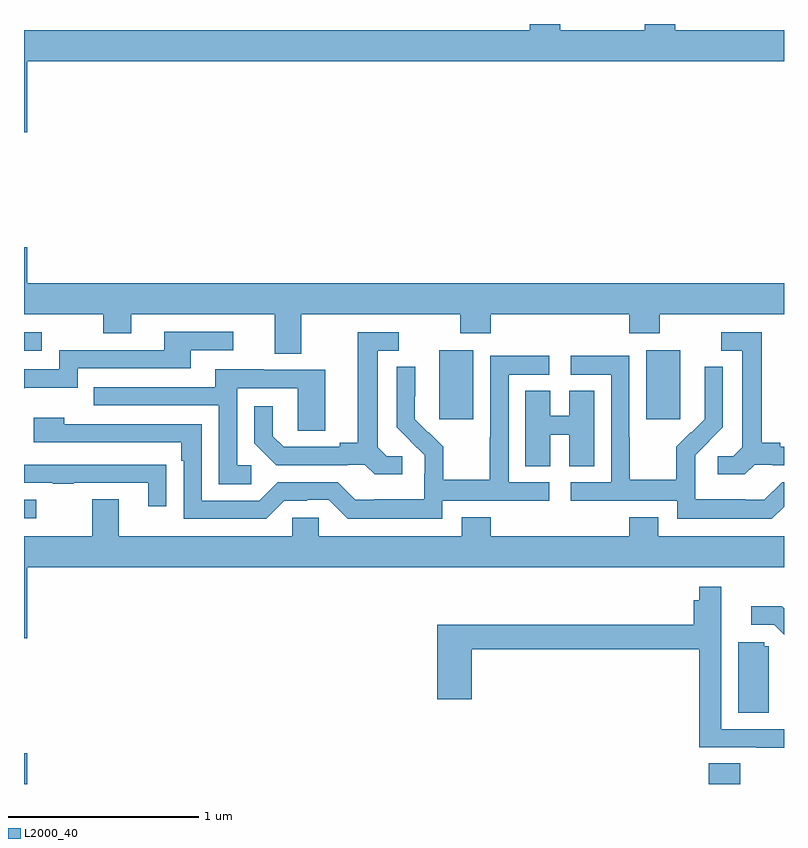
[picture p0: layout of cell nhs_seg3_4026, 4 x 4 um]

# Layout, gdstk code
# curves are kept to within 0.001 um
import gdstk
lib = gdstk.Library(unit=1e-6, precision=1e-09)
def R(c, l, rs):  # rectangles x0, y0, x1, y1
    for r in rs: c.add(gdstk.rectangle(r[:2], r[2:], *l))
def P(c, l, *ps):  # polygons
    for p in ps: c.add(gdstk.Polygon(p, *l))
L2000_40 = (2000, 40)

nhs_seg3_4026 = lib.new_cell('nhs_seg3_4026')
R(nhs_seg3_4026, L2000_40, [(321,742.4,321.016,742.561), (324.605,742.4,324.77,742.508), (321,743.799,321.064,743.895), (323.186,744.321,323.365,744.682), (324.275,744.321,324.454,744.682), (321,744.681,321.094,744.777)])
P(nhs_seg3_4026, L2000_40, [(321.016,746.204),(325,746.204),(325,746.368),(324.428,746.368),(324.428,746.4),(324.268,746.4),(324.268,746.368),(323.823,746.368),(323.823,746.4),(323.663,746.4),(323.663,746.368),(321,746.368),(321,745.83),(321.016,745.83)],
  [(322.459,744.872),(323.296,744.872),(323.296,744.773),(323.456,744.773),(323.456,744.872),(324.185,744.872),(324.185,744.773),(324.345,744.773),(324.345,744.872),(325,744.872),(325,745.036),(321.016,745.036),(321.016,745.225),(321,745.225),(321,744.872),(321.418,744.872),(321.418,744.773),(321.565,744.773),(321.565,744.872),(322.319,744.872),(322.319,744.664),(322.459,744.664)],
  [(321.005,744.485),(321.282,744.485),(321.282,744.588),(321.877,744.588),(321.877,744.684),(322.102,744.684),(322.102,744.78),(321.737,744.78),(321.737,744.684),(321.186,744.684),(321.186,744.582),(321,744.582),(321,744.48)],
  [(322.99,744.126),(322.908,744.126),(322.861,744.173),(322.861,744.681),(322.972,744.681),(322.972,744.777),(322.757,744.777),(322.757,744.197),(322.661,744.197),(322.661,744.174),(322.366,744.174),(322.309,744.231),(322.309,744.388),(322.212,744.388),(322.212,744.194),(322.328,744.078),(322.7,744.078),(322.7,744.081),(322.794,744.081),(322.846,744.029),(322.99,744.029)],
  [(324.846,744.081),(324.94,744.081),(324.94,744.078),(325,744.078),(325,744.174),(324.979,744.174),(324.979,744.197),(324.883,744.197),(324.883,744.777),(324.669,744.777),(324.669,744.681),(324.779,744.681),(324.779,744.173),(324.732,744.126),(324.651,744.126),(324.651,744.029),(324.794,744.029)],
  [(325,743.86),(325,743.988),(324.99,743.988),(324.897,743.895),(324.797,743.895),(324.797,743.899),(324.534,743.899),(324.534,744.033),(324.532,744.033),(324.532,744.13),(324.678,744.278),(324.678,744.596),(324.582,744.596),(324.582,744.442),(324.584,744.442),(324.584,744.32),(324.513,744.249),(324.51,744.252),(324.433,744.175),(324.433,744.001),(324.189,744.001),(324.189,744.224),(324.186,744.224),(324.186,744.654),(323.877,744.654),(323.877,744.555),(324.09,744.555),(324.09,743.988),(323.877,743.988),(323.877,743.892),(324.438,743.892),(324.438,743.795),(324.935,743.795)],
  [(323.202,743.892),(323.764,743.892),(323.764,743.988),(323.55,743.988),(323.55,744.555),(323.764,744.555),(323.764,744.654),(323.454,744.654),(323.454,744.224),(323.452,744.224),(323.452,744.001),(323.207,744.001),(323.207,744.175),(323.13,744.252),(323.127,744.249),(323.057,744.32),(323.058,744.596),(322.962,744.596),(322.962,744.278),(323.108,744.13),(323.108,744.033),(323.106,744.033),(323.106,743.899),(322.843,743.899),(322.843,743.895),(322.743,743.895),(322.65,743.988),(322.335,743.988),(322.239,743.892),(321.936,743.892),(321.936,744.294),(321.212,744.294),(321.212,744.328),(321.051,744.328),(321.051,744.198),(321.827,744.198),(321.827,744.101),(321.84,744.101),(321.84,743.796),(322.275,743.796),(322.371,743.892),(322.49,743.892),(322.49,743.895),(322.605,743.895),(322.705,743.795),(323.202,743.795)],
  [(322.195,744.078),(322.122,744.078),(322.122,744.483),(322.44,744.483),(322.44,744.259),(322.585,744.259),(322.585,744.579),(322.261,744.579),(322.261,744.583),(322.007,744.583),(322.007,744.489),(321.367,744.489),(321.367,744.393),(322.026,744.393),(322.026,743.977),(322.195,743.977)],
  [(323.77,744.238),(323.87,744.238),(323.87,744.073),(324.001,744.073),(324.001,744.47),(323.87,744.47),(323.87,744.338),(323.77,744.338),(323.77,744.47),(323.639,744.47),(323.639,744.073),(323.77,744.073)],
  [(321.749,744.08),(321.647,744.08),(321.647,744.081),(321,744.081),(321,743.985),(321.151,743.985),(321.151,743.98),(321.263,743.98),(321.263,743.985),(321.653,743.985),(321.653,743.862),(321.749,743.862)],
  [(321.016,743.54),(325,743.54),(325,743.704),(324.337,743.704),(324.337,743.803),(324.185,743.803),(324.185,743.704),(323.456,743.704),(323.456,743.803),(323.303,743.803),(323.303,743.704),(322.551,743.704),(322.551,743.802),(322.413,743.802),(322.413,743.704),(321.499,743.704),(321.499,743.899),(321.359,743.899),(321.359,743.704),(321,743.704),(321,743.166),(321.016,743.166)],
  [(325,742.689),(324.669,742.689),(324.669,743.437),(324.553,743.437),(324.553,743.368),(324.524,743.368),(324.524,743.239),(323.174,743.239),(323.174,742.845),(323.357,742.845),(323.357,743.11),(324.553,743.11),(324.553,742.593),(324.853,742.593),(324.853,742.591),(325,742.591)],
  [(325,743.324),(324.989,743.335),(324.828,743.335),(324.828,743.238),(324.948,743.238),(325,743.186)],
  [(324.919,743.124),(324.897,743.124),(324.897,743.145),(324.758,743.145),(324.758,742.776),(324.919,742.776)])

lib.write_gds('nhs_seg3_4026.gds')
